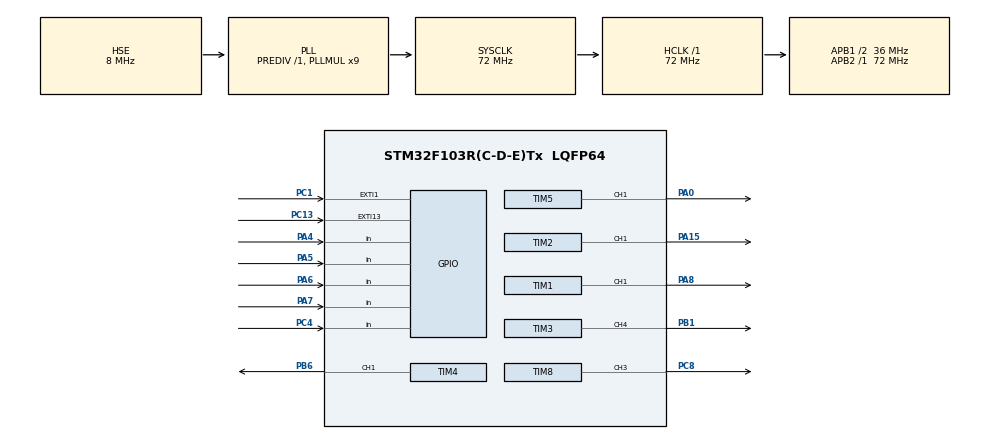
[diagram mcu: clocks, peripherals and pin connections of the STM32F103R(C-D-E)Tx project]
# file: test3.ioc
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Dma.Request0=TIM1_CH1
Dma.Request1=TIM2_CH1
Dma.Request2=TIM4_CH1
Dma.Request3=TIM3_CH4/UP
Dma.Request4=TIM5_CH1
Dma.Request5=TIM8_CH3/UP
Dma.TIM1_CH1.0.Direction=DMA_MEMORY_TO_PERIPH
Dma.TIM1_CH1.0.Instance=DMA1_Channel2
Dma.TIM1_CH1.0.MemDataAlignment=DMA_MDATAALIGN_WORD
Dma.TIM1_CH1.0.MemInc=DMA_MINC_ENABLE
Dma.TIM1_CH1.0.Mode=DMA_NORMAL
Dma.TIM1_CH1.0.PeriphDataAlignment=DMA_PDATAALIGN_WORD
Dma.TIM1_CH1.0.PeriphInc=DMA_PINC_DISABLE
Dma.TIM1_CH1.0.Priority=DMA_PRIORITY_LOW
Dma.TIM2_CH1.1.Direction=DMA_MEMORY_TO_PERIPH
Dma.TIM2_CH1.1.Instance=DMA1_Channel5
Dma.TIM2_CH1.1.MemDataAlignment=DMA_MDATAALIGN_WORD
Dma.TIM2_CH1.1.MemInc=DMA_MINC_ENABLE
Dma.TIM2_CH1.1.Mode=DMA_NORMAL
Dma.TIM2_CH1.1.PeriphDataAlignment=DMA_PDATAALIGN_WORD
Dma.TIM2_CH1.1.PeriphInc=DMA_PINC_DISABLE
Dma.TIM2_CH1.1.Priority=DMA_PRIORITY_LOW
Dma.TIM3_CH4/UP.3.Direction=DMA_MEMORY_TO_PERIPH
Dma.TIM3_CH4/UP.3.Instance=DMA1_Channel3
Dma.TIM3_CH4/UP.3.MemDataAlignment=DMA_MDATAALIGN_WORD
Dma.TIM3_CH4/UP.3.MemInc=DMA_MINC_ENABLE
Dma.TIM3_CH4/UP.3.Mode=DMA_NORMAL
Dma.TIM3_CH4/UP.3.PeriphDataAlignment=DMA_PDATAALIGN_WORD
Dma.TIM3_CH4/UP.3.PeriphInc=DMA_PINC_DISABLE
Dma.TIM3_CH4/UP.3.Priority=DMA_PRIORITY_LOW
Dma.TIM4_CH1.2.Direction=DMA_MEMORY_TO_PERIPH
Dma.TIM4_CH1.2.Instance=DMA1_Channel1
Dma.TIM4_CH1.2.MemDataAlignment=DMA_MDATAALIGN_WORD
Dma.TIM4_CH1.2.MemInc=DMA_MINC_ENABLE
Dma.TIM4_CH1.2.Mode=DMA_NORMAL
Dma.TIM4_CH1.2.PeriphDataAlignment=DMA_PDATAALIGN_WORD
Dma.TIM4_CH1.2.PeriphInc=DMA_PINC_DISABLE
Dma.TIM4_CH1.2.Priority=DMA_PRIORITY_LOW
Dma.TIM5_CH1.4.Direction=DMA_MEMORY_TO_PERIPH
Dma.TIM5_CH1.4.Instance=DMA2_Channel5
Dma.TIM5_CH1.4.MemDataAlignment=DMA_MDATAALIGN_WORD
Dma.TIM5_CH1.4.MemInc=DMA_MINC_ENABLE
Dma.TIM5_CH1.4.Mode=DMA_NORMAL
Dma.TIM5_CH1.4.PeriphDataAlignment=DMA_PDATAALIGN_WORD
Dma.TIM5_CH1.4.PeriphInc=DMA_PINC_DISABLE
Dma.TIM5_CH1.4.Priority=DMA_PRIORITY_LOW
Dma.TIM8_CH3/UP.5.Direction=DMA_MEMORY_TO_PERIPH
Dma.TIM8_CH3/UP.5.Instance=DMA2_Channel1
Dma.TIM8_CH3/UP.5.MemDataAlignment=DMA_MDATAALIGN_WORD
Dma.TIM8_CH3/UP.5.MemInc=DMA_MINC_ENABLE
Dma.TIM8_CH3/UP.5.Mode=DMA_NORMAL
Dma.TIM8_CH3/UP.5.PeriphDataAlignment=DMA_PDATAALIGN_WORD
Dma.TIM8_CH3/UP.5.PeriphInc=DMA_PINC_DISABLE
Dma.TIM8_CH3/UP.5.Priority=DMA_PRIORITY_LOW
Mcu.Family=STM32F1
Mcu.Name=STM32F103R(C-D-E)Tx
Mcu.Package=LQFP64
NVIC.DMA1_Channel1_IRQn=true\:5\:0\:true\:false\:true\:false\:true\:true
NVIC.DMA1_Channel2_IRQn=true\:5\:0\:true\:false\:true\:false\:true\:true
NVIC.DMA1_Channel3_IRQn=true\:5\:0\:true\:false\:true\:false\:true\:true
NVIC.DMA1_Channel5_IRQn=true\:5\:0\:true\:false\:true\:false\:true\:true
NVIC.DMA2_Channel1_IRQn=true\:5\:0\:true\:false\:true\:false\:true\:true
NVIC.DMA2_Channel4_5_IRQn=true\:6\:0\:true\:false\:true\:false\:true\:true
NVIC.EXTI15_10_IRQn=true\:1\:0\:true\:false\:true\:true\:true\:true
NVIC.EXTI1_IRQn=true\:1\:0\:true\:false\:true\:true\:true\:true
NVIC.PriorityGroup=NVIC_PRIORITYGROUP_4
NVIC.RTC_IRQn=true\:0\:0\:false\:false\:true\:true\:true\:true
PA0-WKUP.Signal=S_TIM5_CH1
PA13.Mode=Serial_Wire
PA13.Signal=SYS_JTMS-SWDIO
PA14.Mode=Serial_Wire
PA14.Signal=SYS_JTCK-SWCLK
PA15.Signal=S_TIM2_CH1_ETR
PA4.GPIO_Mode=GPIO_MODE_INPUT
PA4.GPIO_PuPd=GPIO_NOPULL
PA4.Signal=GPIO_Input
PA5.GPIO_Mode=GPIO_MODE_INPUT
PA5.GPIO_PuPd=GPIO_NOPULL
PA5.Signal=GPIO_Input
PA6.GPIO_Mode=GPIO_MODE_INPUT
PA6.GPIO_PuPd=GPIO_NOPULL
PA6.Signal=GPIO_Input
PA7.GPIO_Mode=GPIO_MODE_INPUT
PA7.GPIO_PuPd=GPIO_NOPULL
PA7.Signal=GPIO_Input
PA8.Signal=S_TIM1_CH1
PB1.Signal=S_TIM3_CH4
PB6.Signal=S_TIM4_CH1
PC1.GPIO_ModeDefaultEXTI=GPIO_MODE_IT_FALLING
PC1.GPIO_PuPd=GPIO_PULLUP
PC1.Signal=GPXTI1
PC13-TAMPER-RTC.GPIO_ModeDefaultEXTI=GPIO_MODE_IT_FALLING
PC13-TAMPER-RTC.GPIO_PuPd=GPIO_PULLUP
PC13-TAMPER-RTC.Signal=GPXTI13
PC4.GPIO_Mode=GPIO_MODE_INPUT
PC4.GPIO_PuPd=GPIO_NOPULL
PC4.Signal=GPIO_Input
PC8.Signal=S_TIM8_CH3
PD0-OSC_IN.Mode=HSE-External-Oscillator
PD0-OSC_IN.Signal=RCC_OSC_IN
PD1-OSC_OUT.Mode=HSE-External-Oscillator
PD1-OSC_OUT.Signal=RCC_OSC_OUT
ProjectManager.HeapSize=0x400
ProjectManager.StackSize=0x500
ProjectManager.TargetToolchain=MDK-ARM V5.32
RCC.AHBFreq_Value=72000000
RCC.APB1CLKDivider=RCC_HCLK_DIV2
RCC.APB1Freq_Value=36000000
RCC.APB1TimFreq_Value=72000000
RCC.APB2Freq_Value=72000000
RCC.APB2TimFreq_Value=72000000
RCC.HCLKFreq_Value=72000000
RCC.PLLMUL=RCC_PLL_MUL9
RCC.PLLSourceVirtual=RCC_PLLSOURCE_HSE
RCC.SYSCLKFreq_VALUE=72000000
RCC.SYSCLKSource=RCC_SYSCLKSOURCE_PLLCLK
RCC.USBFreq_Value=72000000
RTC.Format=RTC_FORMAT_BCD
SH.S_TIM1_CH1.0=TIM1_CH1,PWM Generation1 CH1
SH.S_TIM2_CH1_ETR.0=TIM2_CH1,PWM Generation1 CH1
SH.S_TIM3_CH4.0=TIM3_CH4,PWM Generation4 CH4
SH.S_TIM4_CH1.0=TIM4_CH1,PWM Generation1 CH1
SH.S_TIM5_CH1.0=TIM5_CH1,PWM Generation1 CH1
SH.S_TIM8_CH3.0=TIM8_CH3,PWM Generation3 CH3
TIM1.Channel-PWM\ Generation1\ CH1=TIM_CHANNEL_1
TIM1.Period=89
TIM2.Channel-PWM\ Generation1\ CH1=TIM_CHANNEL_1
TIM2.Period=89
TIM3.Channel-PWM\ Generation4\ CH4=TIM_CHANNEL_4
TIM3.Period=89
TIM4.Channel-PWM\ Generation1\ CH1=TIM_CHANNEL_1
TIM4.Period=89
TIM5.Channel-PWM\ Generation1\ CH1=TIM_CHANNEL_1
TIM5.Period=89
TIM8.Channel-PWM\ Generation3\ CH3=TIM_CHANNEL_3
TIM8.Period=89
VP_RTC_No_RTC_Output.Mode=RTC_OUT_NO
VP_RTC_VS_RTC_Activate.Mode=RTC_Enabled
VP_RTC_VS_RTC_Calendar.Mode=RTC_Calendar
VP_TIM3_VS_ClockSourceINT.Mode=Internal
board=custom

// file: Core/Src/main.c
/* USER CODE BEGIN Header */
/**
 ******************************************************************************
 * @file           : main.c
 * @brief          : Main program body
 ******************************************************************************
 * @attention
 *
 * Copyright (c) 2023 STMicroelectronics.
 * All rights reserved.
 *
 * This software is licensed under terms that can be found in the LICENSE file
 * in the root directory of this software component.
 * If no LICENSE file comes with this software, it is provided AS-IS.
 *
 ******************************************************************************
 */
/* USER CODE END Header */
#include "main.h"
#include "dma.h"
#include "rtc.h"
#include "tim.h"
#include "gpio.h"

/* USER CODE BEGIN Includes */
#include "WS2812.h"
#include "ctr.h"
// #include "Cmaster.h"
#include "vibra.h"
/* USER CODE END Includes */

void SystemClock_Config(void);

/* USER CODE BEGIN 0 */
int Step = 1;
int now_light = 1;
int fan_change_time = 2;//�л�ʱ��
uint8_t flag=0;//调其他颜色时flag不能为0 1 2 3
// define FanMode

int MODE = 0;//调试模式MODE不能是0 1 2
// GRB
uint32_t RGB1 = 0X0000FF; // color
/* USER CODE END 0 */

int main(void)
{

  /* MCU Configuration--------------------------------------------------------*/

  /* Reset of all peripherals, Initializes the Flash interface and the Systick. */
  HAL_Init();

  /* Configure the system clock */
  SystemClock_Config();

  /* Initialize all configured peripherals */
  MX_GPIO_Init();
  MX_DMA_Init();
  MX_TIM1_Init();
  MX_TIM2_Init();
  MX_TIM3_Init();
  MX_TIM4_Init();
  MX_TIM5_Init();
  MX_TIM8_Init();
  MX_RTC_Init();
  /* USER CODE BEGIN 2 */
  //	ALL_UpdateBuf();
  boot_init();
  // Rand_num();

  // PC8
  /* USER CODE END 2 */

  /* Infinite loop */
  /* USER CODE BEGIN WHILE */

  while (1)
  {
	   if(flag==0)
	    {
		    RGB1=0X00FF00;
	    }
	   if(flag==1)
	    {
		    RGB1=0X0000FF;
	    }
			if(flag==2)
	    {
		    RGB1=0X005F00;
	    }
			if(flag==3)
	    {
		    RGB1=0X00005F;
	    }
     if (MODE == 0)
    {
      Vibra_monitor();
      fan_logic(Step);
      ctr_fan(Step, RGB1,fan_change_time);
      Vibra_monitor();
    }
    else if(MODE == 1)
    {
      Test1(Step, RGB1);
    }
    else if(MODE == 2)
    {
      Test2(Step,RGB1);
    }

    /* USER CODE END WHILE */

    /* USER CODE BEGIN 3 */
    //Test(Step,RGB1,now_light);//调试模式
  }
  /* USER CODE END 3 */
}

void SystemClock_Config(void)
{
  RCC_OscInitTypeDef RCC_OscInitStruct = {0};
  RCC_ClkInitTypeDef RCC_ClkInitStruct = {0};
  RCC_PeriphCLKInitTypeDef PeriphClkInit = {0};

  /** Initializes the RCC Oscillators according to the specified parameters
  * in the RCC_OscInitTypeDef structure.
  */
  RCC_OscInitStruct.OscillatorType = RCC_OSCILLATORTYPE_LSI|RCC_OSCILLATORTYPE_HSE;
  RCC_OscInitStruct.HSEState = RCC_HSE_ON;
  RCC_OscInitStruct.HSEPredivValue = RCC_HSE_PREDIV_DIV1;
  RCC_OscInitStruct.HSIState = RCC_HSI_ON;
  RCC_OscInitStruct.LSIState = RCC_LSI_ON;
  RCC_OscInitStruct.PLL.PLLState = RCC_PLL_ON;
  RCC_OscInitStruct.PLL.PLLSource = RCC_PLLSOURCE_HSE;
  RCC_OscInitStruct.PLL.PLLMUL = RCC_PLL_MUL9;
  if (HAL_RCC_OscConfig(&RCC_OscInitStruct) != HAL_OK)
  {
    Error_Handler();
  }

  /** Initializes the CPU, AHB and APB buses clocks
  */
  RCC_ClkInitStruct.ClockType = RCC_CLOCKTYPE_HCLK|RCC_CLOCKTYPE_SYSCLK
                              |RCC_CLOCKTYPE_PCLK1|RCC_CLOCKTYPE_PCLK2;
  RCC_ClkInitStruct.SYSCLKSource = RCC_SYSCLKSOURCE_PLLCLK;
  RCC_ClkInitStruct.AHBCLKDivider = RCC_SYSCLK_DIV1;
  RCC_ClkInitStruct.APB1CLKDivider = RCC_HCLK_DIV2;
  RCC_ClkInitStruct.APB2CLKDivider = RCC_HCLK_DIV1;

  if (HAL_RCC_ClockConfig(&RCC_ClkInitStruct, FLASH_LATENCY_2) != HAL_OK)
  {
    Error_Handler();
  }
  PeriphClkInit.PeriphClockSelection = RCC_PERIPHCLK_RTC;
  PeriphClkInit.RTCClockSelection = RCC_RTCCLKSOURCE_LSI;
  if (HAL_RCCEx_PeriphCLKConfig(&PeriphClkInit) != HAL_OK)
  {
    Error_Handler();
  }
}

/* USER CODE BEGIN 4 */
void HAL_GPIO_EXTI_Callback(uint16_t GPIO_Pin)
{
  HAL_Delay(300);

    if(GPIO_Pin == GPIO_PIN_13)
    {
     flag=flag + 1;
		  if(flag > 3)
		  {
		  flag = 0;
		  }
    }
    else if(GPIO_Pin == GPIO_PIN_1)
    {
      MODE=MODE + 1;
      if (MODE > 2)
      {
        MODE = 0;
      }

    }

}

// PA3~7
// void HAL_GPIO_EXTI_Callback(uint16_t GPIO_Pin)
//{
//
////	if(GPIO_Pin == GPIO_PIN_3){
////		vibra_flag[0]=1;
////	}
////	if(GPIO_Pin == GPIO_PIN_4){
////			vibra_flag[0]=1;
////	}
////	if(GPIO_Pin == GPIO_PIN_5){
////			vibra_flag[0]=1;
////	}
////	if(GPIO_Pin == GPIO_PIN_6){
////			vibra_flag[0]=1;
////	}
////	if(GPIO_Pin == GPIO_PIN_7){
////			vibra_flag[0]=1;
////	}
//
//}

/* USER CODE END 4 */

void Error_Handler(void)
{
  __disable_irq();
  while (1)
  {
  }
}
